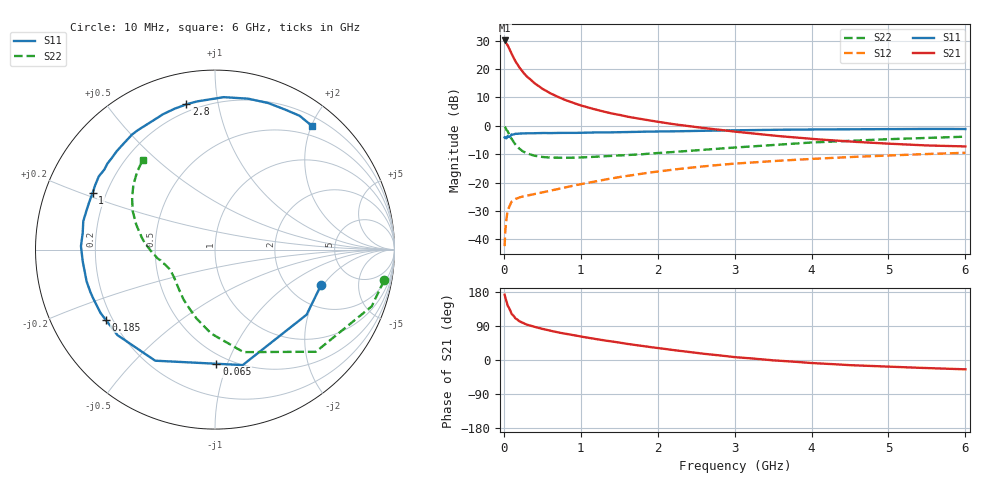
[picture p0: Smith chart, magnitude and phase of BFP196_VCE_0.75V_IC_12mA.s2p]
! Infineon Technologies  Discrete & RF Semiconductors
! BFP196
! VCE = 0.75V,  IC =  12mA
! Common Emitter S-Parameters:  Jan 2016
# GHz  S  MA  R  50
!  f  S11  S21  S12  S22
! GHz  MAG  ANG  MAG  ANG  MAG  ANG  MAG  ANG
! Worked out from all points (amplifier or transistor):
!   210 points, 10 MHz to 6 GHz, reference 50 ohm
!   highest |S21| = 30.0 dB at 10 MHz (marker M1)
!   |S21| within 3 dB of that: start of sweep to 71.62 MHz
!   unconditionally stable (mu >= 1): 779.6 MHz to end of sweep
!   at 185 MHz: K = 0.36, MSG = 23.3 dB, |S12| = -25.4 dB
!   at 1.52 GHz: K = 1.15, MAG = 8.5 dB, |S12| = -18.0 dB
!   at 6 GHz: K = 1.03, MAG = 0.0 dB, |S12| = -9.5 dB
!   S11 on the Smith chart (normalised r, x): 10 MHz: 2.96, -1.92; 65 MHz: 0.43, -0.92; 185 MHz: 0.17, -0.28; 1 GHz: 0.15, +0.22; 2.8 GHz: 0.16, +0.81; 6 GHz: 0.34, +2.00
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0.01  0.6232 -18.5  31.69 172.4  0.0076 84.4  0.9577 -10.3
0.02  0.626 -35.4  30.36 163.4  0.015 74.4  0.9285 -19.9
0.05  0.6617 -76.5  26.04 143.3  0.0324 57.4  0.7997 -45.4
0.065  0.6361 -89.3  23.49 138.3  0.0361 51.3  0.7204 -52.3
0.1  0.703 -118.3  18.54 121.9  0.046 41.2  0.5927 -74.5
0.15  0.7229 -138.8  13.64 110.0  0.0515 34.3  0.4681 -92.6
0.185  0.7237 -147.4  11.57 105.1  0.0537 32.2  0.4162 -100.9
0.2  0.7289 -151.0  10.72 102.4  0.0546 31.4  0.3971 -105.1
0.24  0.7311 -158.2  9.085 98.3  0.0566 30.8  0.3605 -112.9
0.3  0.737 -166.1  7.331 93.2  0.0587 30.8  0.3276 -122.5
0.4  0.74 -175.0  5.582 87.1  0.0629 32.2  0.2968 -133.1
0.5  0.7471 178.5  4.481 82.1  0.0671 34.4  0.282 -140.5
0.7  0.7508 167.8  3.235 72.8  0.0766 38.1  0.2737 -149.8
1  0.7511 155.2  2.281 62.0  0.0937 41.5  0.276 -157.4
1.02  0.7523 154.5  2.241 61.3  0.0949 41.6  0.2769 -157.8
1.4  0.7674 141.3  1.647 49.1  0.118 42.5  0.2936 -164.2
2.02  0.7921 122.3  1.164 31.1  0.1578 39.5  0.3319 -173.6
2.8  0.8253 101.2  0.851 12.2  0.2045 32.0  0.3964 173.9
3.1  0.8335 94.7  0.764 6.1  0.2201 28.2  0.4222 168.8
4.1  0.8613 76.1  0.574 -9.0  0.2649 16.9  0.5144 153.3
5.1  0.8734 62.4  0.477 -18.5  0.3033 6.2  0.5862 140.2
6  0.8756 52.1  0.433 -24.6  0.3345 -4.0  0.6418 128.9
